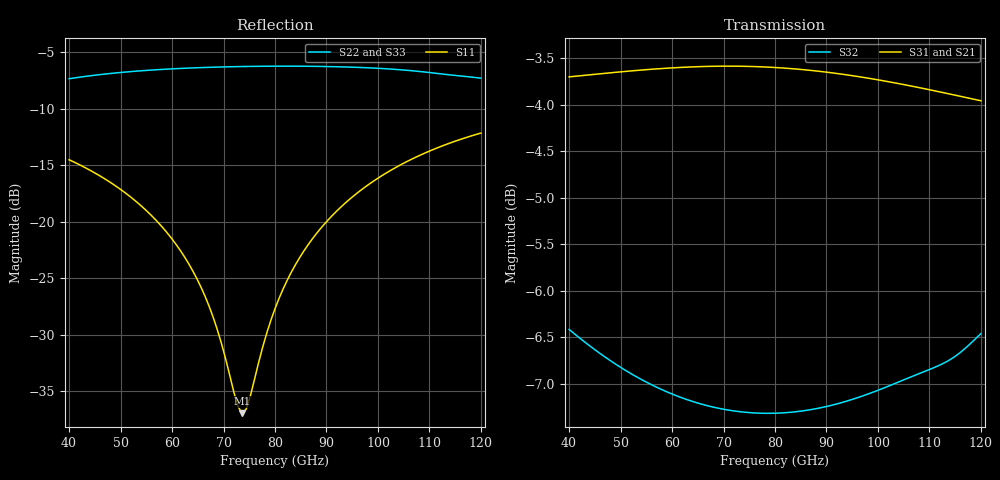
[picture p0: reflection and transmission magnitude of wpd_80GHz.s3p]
#  GHZ S DB R 50
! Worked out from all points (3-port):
!   101 points, 40 GHz to 120 GHz, reference 50 ohm
!   strongest paths, dB at 40 GHz, 60 GHz, 80 GHz, 100 GHz, 120 GHz:
!     S31: -3.7, -3.6, -3.6, -3.7, -4.0
!     S21: -3.7, -3.6, -3.6, -3.7, -4.0
!     S32: -6.4, -7.1, -7.3, -7.1, -6.5
!   lowest |S11| = -36.9 dB at 73.6 GHz (marker M1), VSWR 1.03, Z = 51.4 + j0.143 ohm
!   |S11| at or under -10 dB: start of sweep to end of sweep
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40  -14.53 128.9  -3.70 -45.1  -3.70 -45.1
    -3.70 -45.1  -7.37 46.3  -6.42 -99.0
    -3.70 -45.1  -6.42 -99.0  -7.37 46.3
52.8  -18.14 111.4  -3.64 -60.0  -3.63 -60.0
      -3.64 -60.0  -6.71 26.9  -6.92 -126.1
      -3.63 -60.0  -6.92 -126.1  -6.72 26.9
61.6  -22.54 96.4  -3.61 -70.3  -3.60 -70.3
      -3.61 -70.3  -6.46 15.5  -7.15 -144.1
      -3.60 -70.3  -7.15 -144.1  -6.47 15.5
67.2  -27.48 81.0  -3.59 -77.0  -3.59 -77.0
      -3.59 -77.0  -6.36 8.8  -7.24 -155.5
      -3.59 -77.0  -7.24 -155.5  -6.37 8.8
73.6  -36.94 5.6  -3.59 -84.7  -3.59 -84.7
      -3.59 -84.7  -6.29 1.5  -7.31 -168.5
      -3.59 -84.7  -7.31 -168.5  -6.30 1.4
75.2  -35.43 -31.9  -3.60 -86.6  -3.59 -86.6
      -3.60 -86.6  -6.28 -0.4  -7.31 -171.7
      -3.59 -86.6  -7.31 -171.7  -6.29 -0.4
80  -27.69 -74.7  -3.61 -92.3  -3.60 -92.4
    -3.61 -92.3  -6.26 -5.8  -7.32 178.6
    -3.60 -92.4  -7.32 178.6  -6.27 -5.9
86.4  -22.06 -92.2  -3.63 -100.0  -3.63 -100.0
      -3.63 -100.0  -6.27 -13.1  -7.29 165.5
      -3.63 -100.0  -7.29 165.5  -6.28 -13.2
94.4  -18.06 -105.7  -3.69 -109.5  -3.68 -109.6
      -3.69 -109.5  -6.34 -22.6  -7.18 149.1
      -3.68 -109.6  -7.18 149.1  -6.35 -22.6
120  -12.17 -138.8  -3.96 -139.3  -3.96 -139.4
     -3.96 -139.3  -7.32 -58.4  -6.46 95.0
     -3.96 -139.4  -6.46 95.0  -7.34 -58.5
